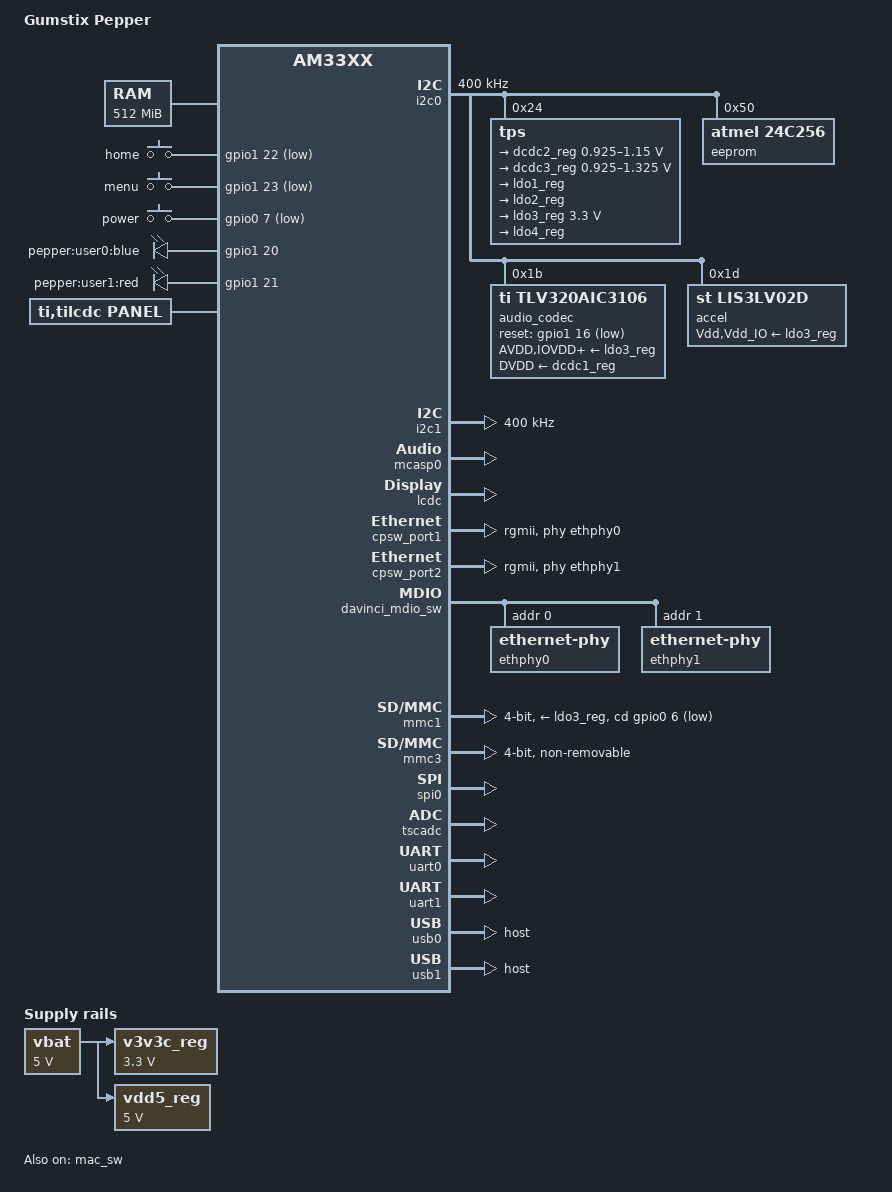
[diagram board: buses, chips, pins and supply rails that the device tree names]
// SPDX-License-Identifier: GPL-2.0-only
/*
 * Copyright (C) 2014 Gumstix, Inc. - https://www.gumstix.com/
 */
/dts-v1/;

#include <dt-bindings/input/input.h>
#include "am33xx.dtsi"

/ {
	model = "Gumstix Pepper";
	compatible = "gumstix,am335x-pepper", "ti,am33xx";

	cpus {
		cpu@0 {
			cpu0-supply = <&dcdc3_reg>;
		};
	};

	memory@80000000 {
		device_type = "memory";
		reg = <0x80000000 0x20000000>; /* 512 MB */
	};

	buttons: user_buttons {
		compatible = "gpio-keys";
	};

	leds: user-leds-pins {
		compatible = "gpio-leds";
	};

	panel: lcd_panel {
		compatible = "ti,tilcdc,panel";
	};

	sound: sound_iface {
		compatible = "ti,da830-evm-audio";
	};

	vbat: fixedregulator0 {
		compatible = "regulator-fixed";
	};

	v3v3c_reg: fixedregulator1 {
		compatible = "regulator-fixed";
	};

	vdd5_reg: fixedregulator2 {
		compatible = "regulator-fixed";
	};
};

/* I2C Busses */
&i2c0 {
	status = "okay";
	pinctrl-names = "default";
	pinctrl-0 = <&i2c0_pins>;

	clock-frequency = <400000>;

	tps: tps@24 {
		reg = <0x24>;
	};

	eeprom: eeprom@50 {
		compatible = "atmel,24c256";
		reg = <0x50>;
	};

	audio_codec: tlv320aic3106@1b {
		compatible = "ti,tlv320aic3106";
		reg = <0x1b>;
		ai3x-micbias-vg = <0x2>;
	};

	accel: lis331dlh@1d {
		compatible = "st,lis3lv02d";
		reg = <0x1d>;
	};
};

&i2c1 {
	status = "okay";
	pinctrl-names = "default";
	pinctrl-0 = <&i2c1_pins>;
	clock-frequency = <400000>;
};

&am33xx_pinmux {
	i2c0_pins: i2c0-pins {
		pinctrl-single,pins = <
			AM33XX_PADCONF(AM335X_PIN_I2C0_SDA, PIN_INPUT_PULLUP, MUX_MODE0)
			AM33XX_PADCONF(AM335X_PIN_I2C0_SCL, PIN_INPUT_PULLUP, MUX_MODE0)
		>;
	};
	i2c1_pins: i2c1-pins {
		pinctrl-single,pins = <
			AM33XX_PADCONF(AM335X_PIN_MII1_CRS, PIN_INPUT_PULLUP, MUX_MODE3)	/* mii1_crs,i2c1_sda */
			AM33XX_PADCONF(AM335X_PIN_MII1_RX_ER, PIN_INPUT_PULLUP, MUX_MODE3)	/* mii1_rxerr,i2c1_scl */
		>;
	};
};

/* Accelerometer */
&accel {
	pinctrl-names = "default";
	pinctrl-0 = <&accel_pins>;

	Vdd-supply = <&ldo3_reg>;
	Vdd_IO-supply = <&ldo3_reg>;
	st,irq1-click;
	st,wakeup-x-lo;
	st,wakeup-x-hi;
	st,wakeup-y-lo;
	st,wakeup-y-hi;
	st,wakeup-z-lo;
	st,wakeup-z-hi;
	st,min-limit-x = <92>;
	st,max-limit-x = <14>;
	st,min-limit-y = <14>;
	st,max-limit-y = <92>;
	st,min-limit-z = <92>;
	st,max-limit-z = <14>;
};

&am33xx_pinmux {
	accel_pins: accel-pins {
		pinctrl-single,pins = <
			AM33XX_PADCONF(AM335X_PIN_GPMC_WEN, PIN_INPUT, MUX_MODE7)   /* gpmc_wen.gpio2_4 */
		>;
	};
};

/* Audio */
&audio_codec {
	status = "okay";

	reset-gpios = <&gpio1 16 GPIO_ACTIVE_LOW>;
	AVDD-supply = <&ldo3_reg>;
	IOVDD-supply = <&ldo3_reg>;
	DRVDD-supply = <&ldo3_reg>;
	DVDD-supply = <&dcdc1_reg>;
};

&sound {
	ti,model = "AM335x-EVM";
	ti,audio-codec = <&audio_codec>;
	ti,mcasp-controller = <&mcasp0>;
	ti,codec-clock-rate = <12000000>;
	ti,audio-routing =
		"Headphone Jack",	"HPLOUT",
		"Headphone Jack",	"HPROUT",
		"MIC3L",		"Mic3L Switch";
};

&mcasp0 {
	status = "okay";
	pinctrl-names = "default";
	pinctrl-0 = <&audio_pins>;

	op-mode = <0>;	/* MCASP_ISS_MODE */
	tdm-slots = <2>;
	serial-dir = <
		1 2 0 0
		0 0 0 0
		0 0 0 0
		0 0 0 0
	>;
	tx-num-evt = <1>;
	rx-num-evt = <1>;
};

&am33xx_pinmux {
	audio_pins: audio-pins {
		pinctrl-single,pins = <
			AM33XX_PADCONF(AM335X_PIN_MCASP0_AHCLKX, PIN_INPUT_PULLDOWN, MUX_MODE0)
			AM33XX_PADCONF(AM335X_PIN_MCASP0_FSX, PIN_INPUT_PULLDOWN, MUX_MODE0)
			AM33XX_PADCONF(AM335X_PIN_MCASP0_ACLKX, PIN_INPUT_PULLDOWN, MUX_MODE0)
			AM33XX_PADCONF(AM335X_PIN_MCASP0_AXR0, PIN_INPUT_PULLDOWN, MUX_MODE0)
			AM33XX_PADCONF(AM335X_PIN_MCASP0_AXR1, PIN_INPUT_PULLDOWN, MUX_MODE0)
			AM33XX_PADCONF(AM335X_PIN_GPMC_A0, PIN_OUTPUT, MUX_MODE7)	/* gpmc_a0.gpio1_16 */
		>;
	};
};

/* Display: 24-bit LCD Screen */
&panel {
	status = "okay";
	pinctrl-names = "default";
	pinctrl-0 = <&lcd_pins>;
	panel-info {
		ac-bias = <255>;
		ac-bias-intrpt = <0>;
		dma-burst-sz = <16>;
		bpp = <32>;
		fdd = <0x80>;
		sync-edge = <0>;
		sync-ctrl = <1>;
		raster-order = <0>;
		fifo-th = <0>;
	};
	display-timings {
		native-mode = <&timing0>;
		timing0: timing-480x272 {
			clock-frequency = <18400000>;
			hactive = <480>;
			vactive = <272>;
			hfront-porch = <8>;
			hback-porch = <4>;
			hsync-len = <41>;
			vfront-porch = <4>;
			vback-porch = <2>;
			vsync-len = <10>;
			hsync-active = <1>;
			vsync-active = <1>;
		};
	};
};

&lcdc {
	status = "okay";
};

&am33xx_pinmux {
	lcd_pins: lcd-pins {
		pinctrl-single,pins = <
			AM33XX_PADCONF(AM335X_PIN_LCD_DATA0, PIN_OUTPUT, MUX_MODE0)
			AM33XX_PADCONF(AM335X_PIN_LCD_DATA1, PIN_OUTPUT, MUX_MODE0)
			AM33XX_PADCONF(AM335X_PIN_LCD_DATA2, PIN_OUTPUT, MUX_MODE0)
			AM33XX_PADCONF(AM335X_PIN_LCD_DATA3, PIN_OUTPUT, MUX_MODE0)
			AM33XX_PADCONF(AM335X_PIN_LCD_DATA4, PIN_OUTPUT, MUX_MODE0)
			AM33XX_PADCONF(AM335X_PIN_LCD_DATA5, PIN_OUTPUT, MUX_MODE0)
			AM33XX_PADCONF(AM335X_PIN_LCD_DATA6, PIN_OUTPUT, MUX_MODE0)
			AM33XX_PADCONF(AM335X_PIN_LCD_DATA7, PIN_OUTPUT, MUX_MODE0)
			AM33XX_PADCONF(AM335X_PIN_LCD_DATA8, PIN_OUTPUT, MUX_MODE0)
			AM33XX_PADCONF(AM335X_PIN_LCD_DATA9, PIN_OUTPUT, MUX_MODE0)
			AM33XX_PADCONF(AM335X_PIN_LCD_DATA10, PIN_OUTPUT, MUX_MODE0)
			AM33XX_PADCONF(AM335X_PIN_LCD_DATA11, PIN_OUTPUT, MUX_MODE0)
			AM33XX_PADCONF(AM335X_PIN_LCD_DATA12, PIN_OUTPUT, MUX_MODE0)
			AM33XX_PADCONF(AM335X_PIN_LCD_DATA13, PIN_OUTPUT, MUX_MODE0)
			AM33XX_PADCONF(AM335X_PIN_LCD_DATA14, PIN_OUTPUT, MUX_MODE0)
			AM33XX_PADCONF(AM335X_PIN_LCD_DATA15, PIN_OUTPUT, MUX_MODE0)
			AM33XX_PADCONF(AM335X_PIN_GPMC_AD8, PIN_OUTPUT, MUX_MODE1)	/* gpmc_ad8.lcd_data16 */
			AM33XX_PADCONF(AM335X_PIN_GPMC_AD9, PIN_OUTPUT, MUX_MODE1)	/* gpmc_ad9.lcd_data17 */
			AM33XX_PADCONF(AM335X_PIN_GPMC_AD10, PIN_OUTPUT, MUX_MODE1)	/* gpmc_ad10.lcd_data18 */
			AM33XX_PADCONF(AM335X_PIN_GPMC_AD11, PIN_OUTPUT, MUX_MODE1)	/* gpmc_ad11.lcd_data19 */
			AM33XX_PADCONF(AM335X_PIN_GPMC_AD12, PIN_OUTPUT, MUX_MODE1)	/* gpmc_ad12.lcd_data20 */
			AM33XX_PADCONF(AM335X_PIN_GPMC_AD13, PIN_OUTPUT, MUX_MODE1)	/* gpmc_ad13.lcd_data21 */
			AM33XX_PADCONF(AM335X_PIN_GPMC_AD14, PIN_OUTPUT, MUX_MODE1)	/* gpmc_ad14.lcd_data22 */
			AM33XX_PADCONF(AM335X_PIN_GPMC_AD15, PIN_OUTPUT, MUX_MODE1)	/* gpmc_ad15.lcd_data23 */
			AM33XX_PADCONF(AM335X_PIN_LCD_VSYNC, PIN_OUTPUT, MUX_MODE0)
			AM33XX_PADCONF(AM335X_PIN_LCD_HSYNC, PIN_OUTPUT, MUX_MODE0)
			AM33XX_PADCONF(AM335X_PIN_LCD_PCLK, PIN_OUTPUT, MUX_MODE0)
			AM33XX_PADCONF(AM335X_PIN_LCD_AC_BIAS_EN, PIN_OUTPUT, MUX_MODE0)
			/* Display Enable */
			AM33XX_PADCONF(AM335X_PIN_GPMC_A11, PIN_OUTPUT_PULLUP, MUX_MODE7)	/* gpmc_a11.gpio1_27 */
		>;
	};
};

/* Ethernet */
&cpsw_port1 {
	phy-handle = <&ethphy0>;
	phy-mode = "rgmii";
	ti,dual-emac-pvid = <1>;
};

&cpsw_port2 {
	phy-handle = <&ethphy1>;
	phy-mode = "rgmii";
	ti,dual-emac-pvid = <2>;
};

&davinci_mdio_sw {
	pinctrl-names = "default";
	pinctrl-0 = <&mdio_pins>;

	ethphy0: ethernet-phy@0 {
		reg = <0>;
	};

	ethphy1: ethernet-phy@1 {
		reg = <1>;
	};
};

&mac_sw {
	status = "okay";
	pinctrl-names = "default";
	pinctrl-0 = <&ethernet_pins>;
};

&am33xx_pinmux {
	ethernet_pins: ethernet-pins {
		pinctrl-single,pins = <
			AM33XX_PADCONF(AM335X_PIN_MII1_TX_EN, PIN_OUTPUT_PULLDOWN, MUX_MODE2)	/* mii1_txen.rgmii1_tctl */
			AM33XX_PADCONF(AM335X_PIN_MII1_RX_DV, PIN_INPUT_PULLUP, MUX_MODE2)	/* mii1_rxdv.rgmii1_rctl */
			AM33XX_PADCONF(AM335X_PIN_MII1_TXD3, PIN_OUTPUT_PULLDOWN, MUX_MODE2)	/* mii1_txd3.rgmii1_td3 */
			AM33XX_PADCONF(AM335X_PIN_MII1_TXD2, PIN_OUTPUT_PULLDOWN, MUX_MODE2)	/* mii1_txd2.rgmii1_td2 */
			AM33XX_PADCONF(AM335X_PIN_MII1_TXD1, PIN_OUTPUT_PULLDOWN, MUX_MODE2)	/* mii1_txd1.rgmii1_td1 */
			AM33XX_PADCONF(AM335X_PIN_MII1_TXD0, PIN_OUTPUT_PULLDOWN, MUX_MODE2)	/* mii1_txd0.rgmii1_td0 */
			AM33XX_PADCONF(AM335X_PIN_MII1_TX_CLK, PIN_INPUT_PULLUP, MUX_MODE2)
			AM33XX_PADCONF(AM335X_PIN_MII1_RX_CLK, PIN_INPUT_PULLUP, MUX_MODE2)
			AM33XX_PADCONF(AM335X_PIN_MII1_RXD3, PIN_INPUT_PULLUP, MUX_MODE2)
			AM33XX_PADCONF(AM335X_PIN_MII1_RXD2, PIN_INPUT_PULLUP, MUX_MODE2)
			AM33XX_PADCONF(AM335X_PIN_MII1_RXD1, PIN_INPUT_PULLUP, MUX_MODE2)
			AM33XX_PADCONF(AM335X_PIN_MII1_RXD0, PIN_INPUT_PULLUP, MUX_MODE2)
			/* ethernet interrupt */
			AM33XX_PADCONF(AM335X_PIN_RMII1_REF_CLK, PIN_INPUT_PULLUP, MUX_MODE7)	/* rmii2_refclk.gpio0_29 */
			/* ethernet PHY nReset */
			AM33XX_PADCONF(AM335X_PIN_MII1_COL, PIN_OUTPUT_PULLUP, MUX_MODE7)	/* mii1_col.gpio3_0 */
		>;
	};

	mdio_pins: mdio-pins {
		pinctrl-single,pins = <
			AM33XX_PADCONF(AM335X_PIN_MDIO, PIN_INPUT_PULLUP | SLEWCTRL_FAST, MUX_MODE0)
			AM33XX_PADCONF(AM335X_PIN_MDC, PIN_OUTPUT_PULLUP, MUX_MODE0)
		>;
	};
};

/* MMC */
&mmc1 {
	/* Bootable SD card slot */
	status = "okay";
	vmmc-supply = <&ldo3_reg>;
	bus-width = <4>;
	pinctrl-names = "default";
	pinctrl-0 = <&sd_pins>;
	cd-gpios = <&gpio0 6 GPIO_ACTIVE_LOW>;
};

&mmc2 {
	/* eMMC (not populated) on MMC #2 */
	status = "disabled";
	pinctrl-names = "default";
	pinctrl-0 = <&emmc_pins>;
	vmmc-supply = <&ldo3_reg>;
	bus-width = <8>;
	non-removable;
};

&mmc3 {
	/* Wifi & Bluetooth on MMC #3 */
	status = "okay";
	pinctrl-names = "default";
	pinctrl-0 = <&wireless_pins>;
	vmmmc-supply = <&v3v3c_reg>;
	bus-width = <4>;
	non-removable;
	dmas = <&edma_xbar 12 0 1
		&edma_xbar 13 0 2>;
	dma-names = "tx", "rx";
};


&am33xx_pinmux {
	sd_pins: sd-card-pins {
		pinctrl-single,pins = <
			AM33XX_PADCONF(AM335X_PIN_MMC0_DAT3, PIN_INPUT_PULLUP, MUX_MODE0)
			AM33XX_PADCONF(AM335X_PIN_MMC0_DAT2, PIN_INPUT_PULLUP, MUX_MODE0)
			AM33XX_PADCONF(AM335X_PIN_MMC0_DAT1, PIN_INPUT_PULLUP, MUX_MODE0)
			AM33XX_PADCONF(AM335X_PIN_MMC0_DAT0, PIN_INPUT_PULLUP, MUX_MODE0)
			AM33XX_PADCONF(AM335X_PIN_MMC0_CLK, PIN_INPUT_PULLUP, MUX_MODE0)
			AM33XX_PADCONF(AM335X_PIN_MMC0_CMD, PIN_INPUT_PULLUP, MUX_MODE0)
			AM33XX_PADCONF(AM335X_PIN_SPI0_CS1, PIN_INPUT, MUX_MODE7)		/* spi0_cs1.gpio0_6 */
		>;
	};
	emmc_pins: emmc-pins {
		pinctrl-single,pins = <
			AM33XX_PADCONF(AM335X_PIN_GPMC_CSN1, PIN_INPUT_PULLUP, MUX_MODE2)	/* gpmc_csn1.mmc1_clk */
			AM33XX_PADCONF(AM335X_PIN_GPMC_CSN2, PIN_INPUT_PULLUP, MUX_MODE2)	/* gpmc_csn2.mmc1_cmd */
			AM33XX_PADCONF(AM335X_PIN_GPMC_AD0, PIN_INPUT_PULLUP, MUX_MODE1)	/* gpmc_ad0.mmc1_dat0 */
			AM33XX_PADCONF(AM335X_PIN_GPMC_AD1, PIN_INPUT_PULLUP, MUX_MODE1)	/* gpmc_ad1.mmc1_dat1 */
			AM33XX_PADCONF(AM335X_PIN_GPMC_AD2, PIN_INPUT_PULLUP, MUX_MODE1)	/* gpmc_ad2.mmc1_dat2 */
			AM33XX_PADCONF(AM335X_PIN_GPMC_AD3, PIN_INPUT_PULLUP, MUX_MODE1)	/* gpmc_ad3.mmc1_dat3 */
			AM33XX_PADCONF(AM335X_PIN_GPMC_AD4, PIN_INPUT_PULLUP, MUX_MODE1)	/* gpmc_ad4.mmc1_dat4 */
			AM33XX_PADCONF(AM335X_PIN_GPMC_AD5, PIN_INPUT_PULLUP, MUX_MODE1)	/* gpmc_ad5.mmc1_dat5 */
			AM33XX_PADCONF(AM335X_PIN_GPMC_AD6, PIN_INPUT_PULLUP, MUX_MODE1)	/* gpmc_ad6.mmc1_dat6 */
			AM33XX_PADCONF(AM335X_PIN_GPMC_AD7, PIN_INPUT_PULLUP, MUX_MODE1)	/* gpmc_ad7.mmc1_dat7 */
			/* EMMC nReset */
			AM33XX_PADCONF(AM335X_PIN_GPMC_WPN, PIN_OUTPUT_PULLUP, MUX_MODE7)	/* gpmc_wpn.gpio0_31 */
		>;
	};
	wireless_pins: wireless-pins {
		pinctrl-single,pins = <
			AM33XX_PADCONF(AM335X_PIN_GPMC_A1, PIN_INPUT_PULLUP, MUX_MODE3)	/* gpmc_a1.mmc2_dat0 */
			AM33XX_PADCONF(AM335X_PIN_GPMC_A2, PIN_INPUT_PULLUP, MUX_MODE3)	/* gpmc_a2.mmc2_dat1 */
			AM33XX_PADCONF(AM335X_PIN_GPMC_A3, PIN_INPUT_PULLUP, MUX_MODE3)	/* gpmc_a3.mmc2_dat2 */
			AM33XX_PADCONF(AM335X_PIN_GPMC_BEN1, PIN_INPUT_PULLUP, MUX_MODE3)	/* gpmc_ben1.mmc2_dat3 */
			AM33XX_PADCONF(AM335X_PIN_GPMC_CSN3, PIN_INPUT_PULLUP, MUX_MODE3)	/* gpmc_csn3.mmc2_cmd */
			AM33XX_PADCONF(AM335X_PIN_GPMC_CLK, PIN_INPUT_PULLUP, MUX_MODE3)	/* gpmc_clk.mmc1_clk */
			/* WLAN nReset */
			AM33XX_PADCONF(AM335X_PIN_GPMC_A8, PIN_OUTPUT_PULLUP, MUX_MODE7)	/* gpmc_a8.gpio1_24 */
			/* WLAN nPower down */
			AM33XX_PADCONF(AM335X_PIN_GPMC_WAIT0, PIN_OUTPUT_PULLUP, MUX_MODE7)	/* gpmc_wait0.gpio0_30 */
			/* 32kHz Clock */
			AM33XX_PADCONF(AM335X_PIN_XDMA_EVENT_INTR1, PIN_OUTPUT_PULLDOWN, MUX_MODE3)	/* xdma_event_intr1.clkout2 */
		>;
	};
};

/* Power */
&vbat {
	regulator-name = "vbat";
	regulator-min-microvolt = <5000000>;
	regulator-max-microvolt = <5000000>;
};

&v3v3c_reg {
	regulator-name = "v3v3c_reg";
	regulator-min-microvolt = <3300000>;
	regulator-max-microvolt = <3300000>;
	vin-supply = <&vbat>;
};

&vdd5_reg {
	regulator-name = "vdd5_reg";
	regulator-min-microvolt = <5000000>;
	regulator-max-microvolt = <5000000>;
	vin-supply = <&vbat>;
};

/include/ "../../tps65217.dtsi"

&tps {
	backlight {
		isel = <1>; /* ISET1 */
		fdim = <200>; /* TPS65217_BL_FDIM_200HZ */
		default-brightness = <80>;
	};

	regulators {
		dcdc1_reg: regulator@0 {
			/* VDD_1V8 system supply */
			regulator-always-on;
		};

		dcdc2_reg: regulator@1 {
			/* VDD_CORE voltage limits 0.95V - 1.26V with +/-4% tolerance */
			regulator-name = "vdd_core";
			regulator-min-microvolt = <925000>;
			regulator-max-microvolt = <1150000>;
			regulator-boot-on;
			regulator-always-on;
		};

		dcdc3_reg: regulator@2 {
			/* VDD_MPU voltage limits 0.95V - 1.1V with +/-4% tolerance */
			regulator-name = "vdd_mpu";
			regulator-min-microvolt = <925000>;
			regulator-max-microvolt = <1325000>;
			regulator-boot-on;
			regulator-always-on;
		};

		ldo1_reg: regulator@3 {
			/* VRTC 1.8V always-on supply */
			regulator-name = "vrtc,vdds";
			regulator-always-on;
		};

		ldo2_reg: regulator@4 {
			/* 3.3V rail */
			regulator-name = "vdd_3v3aux";
			regulator-always-on;
		};

		ldo3_reg: regulator@5 {
			/* VDD_3V3A 3.3V rail */
			regulator-name = "vdd_3v3a";
			regulator-min-microvolt = <3300000>;
			regulator-max-microvolt = <3300000>;
		};

		ldo4_reg: regulator@6 {
			/* VDD_3V3B 3.3V rail */
			regulator-name = "vdd_3v3b";
			regulator-always-on;
		};
	};
};

/* SPI Busses */
&spi0 {
	status = "okay";
	pinctrl-names = "default";
	pinctrl-0 = <&spi0_pins>;
};

&am33xx_pinmux {
	spi0_pins: spi0-pins {
		pinctrl-single,pins = <
			AM33XX_PADCONF(AM335X_PIN_SPI0_SCLK, PIN_INPUT_PULLUP, MUX_MODE0)
			AM33XX_PADCONF(AM335X_PIN_SPI0_CS0, PIN_INPUT_PULLUP, MUX_MODE0)
			AM33XX_PADCONF(AM335X_PIN_SPI0_D0, PIN_INPUT_PULLUP, MUX_MODE0)
			AM33XX_PADCONF(AM335X_PIN_SPI0_D1, PIN_INPUT_PULLUP, MUX_MODE0)
		>;
	};
};

/* Touch Screen */
&tscadc {
	status = "okay";
	tsc {
		ti,wires = <4>;
		ti,x-plate-resistance = <200>;
		ti,coordinate-readouts = <5>;
		ti,wire-config = <0x00 0x11 0x22 0x33>;
	};

	adc {
		ti,adc-channels = <4 5 6 7>;
	};
};

/* UARTs */
&uart0 {
	/* Serial Console */
	status = "okay";
	pinctrl-names = "default";
	pinctrl-0 = <&uart0_pins>;
};

&uart1 {
	/* Broken out to J6 header */
	status = "okay";
	pinctrl-names = "default";
	pinctrl-0 = <&uart1_pins>;
};

&am33xx_pinmux {
	uart0_pins: uart0-pins {
		pinctrl-single,pins = <
			AM33XX_PADCONF(AM335X_PIN_UART0_RXD, PIN_INPUT_PULLUP, MUX_MODE0)
			AM33XX_PADCONF(AM335X_PIN_UART0_TXD, PIN_OUTPUT_PULLDOWN, MUX_MODE0)
		>;
	};
	uart1_pins: uart1-pins {
		pinctrl-single,pins = <
			AM33XX_PADCONF(AM335X_PIN_UART1_CTSN, PIN_INPUT_PULLUP, MUX_MODE0)
			AM33XX_PADCONF(AM335X_PIN_UART1_RTSN, PIN_OUTPUT_PULLDOWN, MUX_MODE0)
			AM33XX_PADCONF(AM335X_PIN_UART1_RXD, PIN_INPUT_PULLUP, MUX_MODE0)
			AM33XX_PADCONF(AM335X_PIN_UART1_TXD, PIN_OUTPUT_PULLDOWN, MUX_MODE0)
		>;
	};
};

/* USB */
&usb {
	pinctrl-names = "default";
	pinctrl-0 = <&usb_pins>;
};

&usb0 {
	dr_mode = "host";
};

&usb1 {
	dr_mode = "host";
};

&am33xx_pinmux {
	usb_pins: usb-pins {
		pinctrl-single,pins = <
			/* USB0 Over-Current (active low) */
			AM33XX_PADCONF(AM335X_PIN_GPMC_A9, PIN_INPUT, MUX_MODE7)	/* gpmc_a9.gpio1_25 */
			/* USB1 Over-Current (active low) */
			AM33XX_PADCONF(AM335X_PIN_GPMC_A10, PIN_INPUT, MUX_MODE7)	/* gpmc_a10.gpio1_26 */
		>;
	};
};

/* User IO */
&leds {
	pinctrl-names = "default";
	pinctrl-0 = <&user_leds_pins>;

	led0 {
		label = "pepper:user0:blue";
		gpios = <&gpio1 20 GPIO_ACTIVE_HIGH>;
		linux,default-trigger = "none";
		default-state = "off";
	};

	led1 {
		label = "pepper:user1:red";
		gpios = <&gpio1 21 GPIO_ACTIVE_HIGH>;
		linux,default-trigger = "none";
		default-state = "off";
	};
};

&buttons {
	pinctrl-names = "default";
	pinctrl-0 = <&user_buttons_pins>;

	button-0 {
		label = "home";
		linux,code = <KEY_HOME>;
		gpios = <&gpio1 22 GPIO_ACTIVE_LOW>;
		wakeup-source;
	};

	button-1 {
		label = "menu";
		linux,code = <KEY_MENU>;
		gpios = <&gpio1 23 GPIO_ACTIVE_LOW>;
		wakeup-source;
	};

	button-2 {
		label = "power";
		linux,code = <KEY_POWER>;
		gpios = <&gpio0 7 GPIO_ACTIVE_LOW>;
		wakeup-source;
	};
};

&am33xx_pinmux {
	user_leds_pins: user-leds-pins {
		pinctrl-single,pins = <
			AM33XX_PADCONF(AM335X_PIN_GPMC_A4, PIN_OUTPUT, MUX_MODE7)	/* gpmc_a4.gpio1_20 */
			AM33XX_PADCONF(AM335X_PIN_GPMC_A5, PIN_OUTPUT, MUX_MODE7)	/* gpmc_a5.gpio1_21 */
		>;
	};

	user_buttons_pins: user-buttons-pins {
		pinctrl-single,pins = <
			AM33XX_PADCONF(AM335X_PIN_GPMC_A6, PIN_INPUT_PULLUP, MUX_MODE7)	/* gpmc_a6.gpio1_22 */
			AM33XX_PADCONF(AM335X_PIN_GPMC_A7, PIN_INPUT_PULLUP, MUX_MODE7)	/* gpmc_a7.gpio1_21 */
			AM33XX_PADCONF(AM335X_PIN_ECAP0_IN_PWM0_OUT, PIN_INPUT_PULLUP, MUX_MODE7)	/* gpmc_a8.gpio0_7 */
		>;
	};
};
